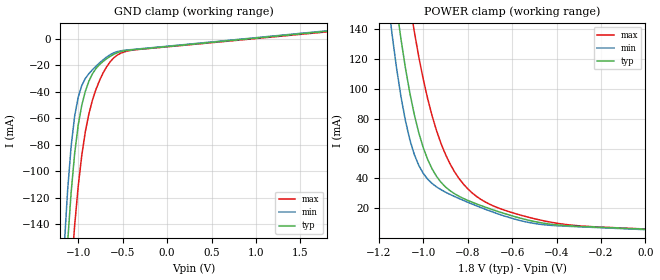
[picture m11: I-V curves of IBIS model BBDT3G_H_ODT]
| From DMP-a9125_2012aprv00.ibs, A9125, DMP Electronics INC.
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[Model] BBDT3G_H_ODT
Model_type Input
Polarity   Non-Inverting
Enable   Active-Low
Vinl =   0.6500V
Vinh =   1.1500V
C_comp   2.3000pF   2.2000pF   2.4000pF
[Temperature Range]   25.0000   -40.0000   0.1250k
[Pullup Reference]   1.8000V   1.7000V   1.9000V
[Pulldown Reference]   0.0V   0.0V   0.0V
[POWER Clamp Reference]   1.8000V   1.7000V   1.9000V
[GND Clamp Reference]   0.0V   0.0V   0.0V
[GND_clamp]
|Voltage   I(typ)   I(min)   I(max)
-1.8V     -1.332A    -1.339A    -1.346A
-1.16V    -201.2mA   -160mA     -267.1mA
-1.12V    -154.8mA   -115.2mA   -219.4mA
-1.08V    -116.3mA   -81.24mA   -177.1mA
-1.04V    -86.57mA   -58.3mA    -141mA
-1V       -65.05mA   -43.95mA   -111.3mA
-960mV    -50.06mA   -35.19mA   -87.94mA
-880mV    -31.9mA    -26.19mA   -56.6mA
-760mV    -19.33mA   -18.05mA   -31.29mA
-640mV    -13.08mA   -11.83mA   -17.15mA
-400mV    -8.257mA   -7.974mA   -8.535mA
1.8V      5.876mA    6.234mA    5.411mA
[POWER_clamp]
|Voltage   I(typ)   I(min)   I(max)
-1.8V     1.423A     1.431A     1.439A
-1.16V    204.6mA    161.5mA    274mA
-1.14V    178.8mA    136.3mA    247.6mA
-1.1V     133.3mA    94.62mA    199mA
-1.04V    82.64mA    55.95mA    138.3mA
-980mV    52.67mA    39.47mA    93.38mA
-920mV    37.36mA    32.38mA    63.4mA
-860mV    29.77mA    27.88mA    44.63mA
-780mV    24.01mA    22.76mA    30.25mA
-660mV    17.61mA    16mA       20.03mA
-460mV    9.962mA    8.939mA    11.61mA
0V        5.876mA    5.586mA    6.035mA
